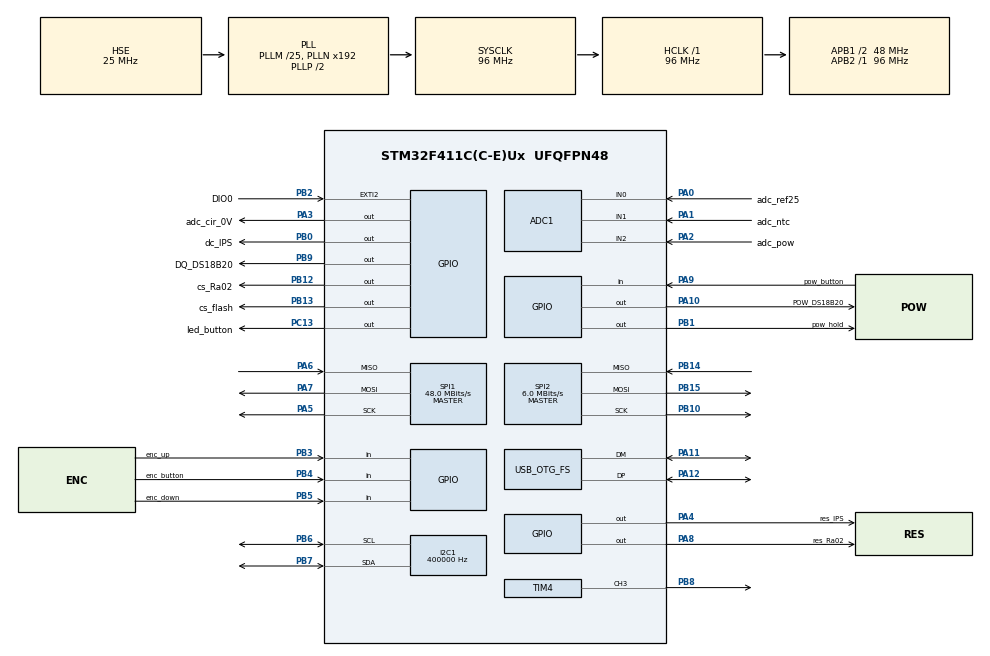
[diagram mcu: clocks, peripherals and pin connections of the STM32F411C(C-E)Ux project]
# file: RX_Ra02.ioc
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ADC1.Channel-0\#ChannelRegularConversion=ADC_CHANNEL_0
ADC1.Channel-3\#ChannelRegularConversion=ADC_CHANNEL_1
ADC1.Channel-4\#ChannelRegularConversion=ADC_CHANNEL_2
ADC1.NbrOfConversion=3
ADC1.NbrOfConversionFlag=1
ADC1.Rank-0\#ChannelRegularConversion=1
ADC1.Rank-3\#ChannelRegularConversion=2
ADC1.Rank-4\#ChannelRegularConversion=3
ADC1.SamplingTime-0\#ChannelRegularConversion=ADC_SAMPLETIME_28CYCLES
ADC1.SamplingTime-3\#ChannelRegularConversion=ADC_SAMPLETIME_28CYCLES
ADC1.SamplingTime-4\#ChannelRegularConversion=ADC_SAMPLETIME_28CYCLES
ADC1.ScanConvMode=ENABLE
ADC1.master=1
Dma.ADC1.0.Direction=DMA_PERIPH_TO_MEMORY
Dma.ADC1.0.FIFOMode=DMA_FIFOMODE_DISABLE
Dma.ADC1.0.Instance=DMA2_Stream0
Dma.ADC1.0.MemDataAlignment=DMA_MDATAALIGN_HALFWORD
Dma.ADC1.0.MemInc=DMA_MINC_ENABLE
Dma.ADC1.0.Mode=DMA_NORMAL
Dma.ADC1.0.PeriphDataAlignment=DMA_PDATAALIGN_HALFWORD
Dma.ADC1.0.PeriphInc=DMA_PINC_DISABLE
Dma.ADC1.0.Priority=DMA_PRIORITY_LOW
Dma.Request0=ADC1
FREERTOS.Tasks01=defaultTask,0,512,StartDefaultTask,Default,NULL,Dynamic,NULL,NULL;myTask_BUTTON,-1,512,StartTask_BUTTON,Default,NULL,Dynamic,NULL,NULL
FREERTOS.configMINIMAL_STACK_SIZE=512
FREERTOS.configUSE_NEWLIB_REENTRANT=1
I2C1.ClockSpeed=400000
I2C1.I2C_Mode=I2C_Fast
I2C1.NoStretchMode=I2C_NOSTRETCH_DISABLE
Mcu.Family=STM32F4
Mcu.Name=STM32F411C(C-E)Ux
Mcu.Package=UFQFPN48
NVIC.DMA2_Stream0_IRQn=true\:5\:0\:false\:false\:true\:true\:false\:true\:true
NVIC.EXTI2_IRQn=true\:6\:0\:true\:false\:true\:true\:true\:true\:true
NVIC.OTG_FS_IRQn=true\:5\:0\:false\:false\:true\:true\:false\:true\:true
NVIC.PriorityGroup=NVIC_PRIORITYGROUP_4
NVIC.TIM2_IRQn=true\:15\:0\:false\:false\:true\:false\:false\:true\:true
NVIC.TimeBase=TIM2_IRQn
NVIC.TimeBaseIP=TIM2
PA0-WKUP.GPIO_Label=adc_ref25
PA0-WKUP.Signal=ADCx_IN0
PA1.GPIO_Label=adc_ntc
PA1.Signal=ADCx_IN1
PA10.GPIO_Label=POW_DS18B20
PA10.Signal=GPIO_Output
PA11.Mode=Device_Only
PA11.Signal=USB_OTG_FS_DM
PA12.Mode=Device_Only
PA12.Signal=USB_OTG_FS_DP
PA2.GPIO_Label=adc_pow
PA2.Signal=ADCx_IN2
PA3.GPIO_Label=adc_cir_0V
PA3.GPIO_ModeDefaultOutputPP=GPIO_MODE_OUTPUT_OD
PA3.GPIO_PuPd=GPIO_NOPULL
PA3.PinState=GPIO_PIN_SET
PA3.Signal=GPIO_Output
PA4.GPIO_Label=res_IPS
PA4.GPIO_Speed=GPIO_SPEED_FREQ_VERY_HIGH
PA4.Signal=GPIO_Output
PA5.Mode=Full_Duplex_Master
PA5.Signal=SPI1_SCK
PA6.Mode=Full_Duplex_Master
PA6.Signal=SPI1_MISO
PA7.Mode=Full_Duplex_Master
PA7.Signal=SPI1_MOSI
PA8.GPIO_Label=res_Ra02
PA8.GPIO_Speed=GPIO_SPEED_FREQ_VERY_HIGH
PA8.PinState=GPIO_PIN_SET
PA8.Signal=GPIO_Output
PA9.GPIO_Label=pow_button
PA9.Signal=GPIO_Input
PB0.GPIO_Label=dc_IPS
PB0.GPIO_Speed=GPIO_SPEED_FREQ_VERY_HIGH
PB0.PinState=GPIO_PIN_SET
PB0.Signal=GPIO_Output
PB1.GPIO_Label=pow_hold
PB1.GPIO_ModeDefaultOutputPP=GPIO_MODE_OUTPUT_OD
PB1.GPIO_PuPd=GPIO_NOPULL
PB1.PinState=GPIO_PIN_SET
PB1.Signal=GPIO_Output
PB10.GPIO_Speed=GPIO_SPEED_FREQ_MEDIUM
PB10.Mode=Full_Duplex_Master
PB10.Signal=SPI2_SCK
PB12.GPIO_Label=cs_Ra02
PB12.GPIO_Speed=GPIO_SPEED_FREQ_HIGH
PB12.PinState=GPIO_PIN_SET
PB12.Signal=GPIO_Output
PB13.GPIO_Label=cs_flash
PB13.GPIO_Speed=GPIO_SPEED_FREQ_HIGH
PB13.PinState=GPIO_PIN_SET
PB13.Signal=GPIO_Output
PB14.Mode=Full_Duplex_Master
PB14.Signal=SPI2_MISO
PB15.GPIO_Speed=GPIO_SPEED_FREQ_MEDIUM
PB15.Mode=Full_Duplex_Master
PB15.Signal=SPI2_MOSI
PB2.GPIO_Label=DIO0
PB2.Signal=GPXTI2
PB3.GPIO_Label=enc_up
PB3.GPIO_PuPd=GPIO_PULLUP
PB3.Signal=GPIO_Input
PB4.GPIO_Label=enc_button
PB4.GPIO_PuPd=GPIO_PULLUP
PB4.Signal=GPIO_Input
PB5.GPIO_Label=enc_down
PB5.GPIO_PuPd=GPIO_PULLUP
PB5.Signal=GPIO_Input
PB6.GPIO_Pu=GPIO_PULLUP
PB6.Mode=I2C
PB6.Signal=I2C1_SCL
PB7.GPIO_Pu=GPIO_PULLUP
PB7.Mode=I2C
PB7.Signal=I2C1_SDA
PB8.Signal=S_TIM4_CH3
PB9.GPIO_Label=DQ_DS18B20
PB9.GPIO_ModeDefaultOutputPP=GPIO_MODE_OUTPUT_OD
PB9.GPIO_PuPd=GPIO_NOPULL
PB9.GPIO_Speed=GPIO_SPEED_FREQ_VERY_HIGH
PB9.PinState=GPIO_PIN_SET
PB9.Signal=GPIO_Output
PC13-ANTI_TAMP.GPIO_Label=led_button
PC13-ANTI_TAMP.PinState=GPIO_PIN_SET
PC13-ANTI_TAMP.Signal=GPIO_Output
PH0\ -\ OSC_IN.Mode=HSE-External-Oscillator
PH0\ -\ OSC_IN.Signal=RCC_OSC_IN
PH1\ -\ OSC_OUT.Mode=HSE-External-Oscillator
PH1\ -\ OSC_OUT.Signal=RCC_OSC_OUT
ProjectManager.HeapSize=0x200
ProjectManager.StackSize=0x400
ProjectManager.TargetToolchain=STM32CubeIDE
RCC.48MHZClocksFreq_Value=48000000
RCC.AHBFreq_Value=96000000
RCC.APB1CLKDivider=RCC_HCLK_DIV2
RCC.APB1Freq_Value=48000000
RCC.APB1TimFreq_Value=96000000
RCC.APB2Freq_Value=96000000
RCC.APB2TimFreq_Value=96000000
RCC.CortexFreq_Value=96000000
RCC.HCLKFreq_Value=96000000
RCC.HSE_VALUE=25000000
RCC.HSI_VALUE=16000000
RCC.LSE_VALUE=32768
RCC.PLLM=25
RCC.SYSCLKFreq_VALUE=96000000
RCC.SYSCLKSource=RCC_SYSCLKSOURCE_PLLCLK
RCC.VCOOutputFreq_Value=192000000
SH.ADCx_IN0.0=ADC1_IN0,IN0
SH.ADCx_IN1.0=ADC1_IN1,IN1
SH.ADCx_IN2.0=ADC1_IN2,IN2
SH.S_TIM4_CH3.0=TIM4_CH3,PWM Generation3 CH3
SPI1.BaudRatePrescaler=SPI_BAUDRATEPRESCALER_2
SPI1.CLKPhase=SPI_PHASE_2EDGE
SPI1.CLKPolarity=SPI_POLARITY_HIGH
SPI1.CalculateBaudRate=48.0 MBits/s
SPI1.Direction=SPI_DIRECTION_2LINES
SPI1.FirstBit=SPI_FIRSTBIT_MSB
SPI1.Mode=SPI_MODE_MASTER
SPI1.VirtualType=VM_MASTER
SPI2.BaudRatePrescaler=SPI_BAUDRATEPRESCALER_8
SPI2.CLKPhase=SPI_PHASE_1EDGE
SPI2.CLKPolarity=SPI_POLARITY_LOW
SPI2.CalculateBaudRate=6.0 MBits/s
SPI2.Direction=SPI_DIRECTION_2LINES
SPI2.FirstBit=SPI_FIRSTBIT_MSB
SPI2.Mode=SPI_MODE_MASTER
SPI2.VirtualType=VM_MASTER
TIM10.ClockDivision=TIM_CLOCKDIVISION_DIV4
TIM10.Prescaler=96
TIM4.Channel-PWM\ Generation3\ CH3=TIM_CHANNEL_3
TIM4.Period=4096
USB_DEVICE.CLASS_NAME_FS=CDC
USB_DEVICE.VirtualMode=Cdc
USB_DEVICE.VirtualModeFS=Cdc_FS
USB_OTG_FS.VirtualMode=Device_Only
VP_FREERTOS_VS_CMSIS_V1.Mode=CMSIS_V1
VP_SYS_VS_tim2.Mode=TIM2
VP_TIM10_VS_ClockSourceINT.Mode=Enable_Timer
VP_USB_DEVICE_VS_USB_DEVICE_CDC_FS.Mode=CDC_FS
board=custom

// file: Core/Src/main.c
/* USER CODE BEGIN Header */
/**
  ******************************************************************************
  * @file           : main.c
  * @brief          : Main program body
  ******************************************************************************
  * @attention
  *
  * Copyright (c) 2025 STMicroelectronics.
  * All rights reserved.
  *
  * This software is licensed under terms that can be found in the LICENSE file
  * in the root directory of this software component.
  * If no LICENSE file comes with this software, it is provided AS-IS.
  *
  ******************************************************************************
  */
/* USER CODE END Header */
#include "main.h"
#include "cmsis_os.h"
#include "usb_device.h"

/* USER CODE BEGIN Includes */
#include "st7789.h"
#include "Flash_W25Q64.h"
#include "Ra_02_LORA.h"
#include "other functions.h"
#include "DS3231.h"
#include "DS18B20.h"
#include "adc.h"
#include "MENU.h"
#include "display.h"
#include "SHT30.h"
#include "Ra_02_LORA.h"
#include "fram.h"
#include "data_encoding.h"
/* USER CODE END Includes */

ADC_HandleTypeDef hadc1;
DMA_HandleTypeDef hdma_adc1;

I2C_HandleTypeDef hi2c1;

SPI_HandleTypeDef hspi1;
SPI_HandleTypeDef hspi2;

TIM_HandleTypeDef htim4;
TIM_HandleTypeDef htim10;

osThreadId defaultTaskHandle;
osThreadId myTask_BUTTONHandle;
/* USER CODE BEGIN PV */
LoRa myLoRa;
uint8_t LoRa_stat=0;
uint8_t LoRa_RxBuffer[7] = {0};
uint8_t TxBuffer[7];
uint8_t LoRa_receive_data = 0;
int			RSSI;
uint8_t dev_LoRa = 0;		//Ra_02_pressence (&myLoRa);
uint16_t background_color = 0;
extern uint8_t MENU;
extern uint8_t MENU_update;
uint8_t RTC_view = 1;
uint32_t RX_fix_time_sec = 0;
extern uint32_t sec_time;

/* USER CODE END PV */

void SystemClock_Config(void);
static void MX_GPIO_Init(void);
static void MX_DMA_Init(void);
static void MX_I2C1_Init(void);
static void MX_SPI1_Init(void);
static void MX_SPI2_Init(void);
static void MX_ADC1_Init(void);
static void MX_TIM4_Init(void);
static void MX_TIM10_Init(void);
void StartDefaultTask(void const * argument);
void StartTask_BUTTON(void const * argument);

int main(void)
{

  /* MCU Configuration--------------------------------------------------------*/

  /* Reset of all peripherals, Initializes the Flash interface and the Systick. */
  HAL_Init();

  /* Configure the system clock */
  SystemClock_Config();

  /* Initialize all configured peripherals */
  MX_GPIO_Init();
  MX_DMA_Init();
  MX_I2C1_Init();
  MX_SPI1_Init();
  MX_SPI2_Init();
  MX_ADC1_Init();
  MX_TIM4_Init();
  MX_TIM10_Init();
  /* USER CODE BEGIN 2 */
  ST7789_Init(240, 240);
  power_on_displayed ();
  convert_adc_3ch ();
  SHT30_heater (0);
  read_fram_count_init ();			// Don't remove
  Power_DS18B20 (1);
  HAL_Delay(5);
  TEST_AND_WRITE_DEFAULT_SRAM ();	// DS18B20
  ST7789_SetBL(40);
  //-------- erase fram - statistic ------------------
  //fram_erase_full ();
  //-----------------------------------------------

  // MODULE SETTINGS ----------------------------------------------
  myLoRa = newLoRa();

	myLoRa.hSPIx        = &hspi2;
	myLoRa.CS_port      = cs_Ra02_GPIO_Port;
	myLoRa.CS_pin       = cs_Ra02_Pin;
	myLoRa.reset_port   = res_Ra02_GPIO_Port;
	myLoRa.reset_pin    = res_Ra02_Pin;
	myLoRa.DIO0_port	= DIO0_GPIO_Port;
	myLoRa.DIO0_pin		= DIO0_Pin;

	myLoRa.frequency             = 470;			// default = 433 MHz
	myLoRa.spredingFactor        = SF_7;		// default = SF_7
	myLoRa.bandWidth			 = BW_31_25KHz;	// default = BW_125KHz
	myLoRa.crcRate				 = CR_4_5;		// default = CR_4_5
	myLoRa.power				 = POWER_20db;	// default = 20db
	myLoRa.overCurrentProtection = 130; 		// default = 100 mA
	myLoRa.preamble				 = 9;		  	// default = 8;

//	if(LoRa_init(&myLoRa)==LORA_OK){
//		LoRa_stat = 1;
//	}
	LoRa_reset(&myLoRa);
	LoRa_init(&myLoRa);

	// START CONTINUOUS RECEIVING -----------------------------------
	LoRa_startReceiving(&myLoRa);

	display_of_device_presence_at_startup ();
  /* USER CODE END 2 */

  /* Create the thread(s) */
  /* definition and creation of defaultTask */
  osThreadDef(defaultTask, StartDefaultTask, osPriorityNormal, 0, 512);
  defaultTaskHandle = osThreadCreate(osThread(defaultTask), NULL);

  /* definition and creation of myTask_BUTTON */
  osThreadDef(myTask_BUTTON, StartTask_BUTTON, osPriorityBelowNormal, 0, 512);
  myTask_BUTTONHandle = osThreadCreate(osThread(myTask_BUTTON), NULL);

  /* Start scheduler */
  osKernelStart();

  /* We should never get here as control is now taken by the scheduler */

  /* Infinite loop */
  while (1)
  {

  }
}

void SystemClock_Config(void)
{
  RCC_OscInitTypeDef RCC_OscInitStruct = {0};
  RCC_ClkInitTypeDef RCC_ClkInitStruct = {0};

  /** Configure the main internal regulator output voltage
  */
  __HAL_RCC_PWR_CLK_ENABLE();
  __HAL_PWR_VOLTAGESCALING_CONFIG(PWR_REGULATOR_VOLTAGE_SCALE1);

  /** Initializes the RCC Oscillators according to the specified parameters
  * in the RCC_OscInitTypeDef structure.
  */
  RCC_OscInitStruct.OscillatorType = RCC_OSCILLATORTYPE_HSE;
  RCC_OscInitStruct.HSEState = RCC_HSE_ON;
  RCC_OscInitStruct.PLL.PLLState = RCC_PLL_ON;
  RCC_OscInitStruct.PLL.PLLSource = RCC_PLLSOURCE_HSE;
  RCC_OscInitStruct.PLL.PLLM = 25;
  RCC_OscInitStruct.PLL.PLLN = 192;
  RCC_OscInitStruct.PLL.PLLP = RCC_PLLP_DIV2;
  RCC_OscInitStruct.PLL.PLLQ = 4;
  if (HAL_RCC_OscConfig(&RCC_OscInitStruct) != HAL_OK)
  {
    Error_Handler();
  }

  /** Initializes the CPU, AHB and APB buses clocks
  */
  RCC_ClkInitStruct.ClockType = RCC_CLOCKTYPE_HCLK|RCC_CLOCKTYPE_SYSCLK
                              |RCC_CLOCKTYPE_PCLK1|RCC_CLOCKTYPE_PCLK2;
  RCC_ClkInitStruct.SYSCLKSource = RCC_SYSCLKSOURCE_PLLCLK;
  RCC_ClkInitStruct.AHBCLKDivider = RCC_SYSCLK_DIV1;
  RCC_ClkInitStruct.APB1CLKDivider = RCC_HCLK_DIV2;
  RCC_ClkInitStruct.APB2CLKDivider = RCC_HCLK_DIV1;

  if (HAL_RCC_ClockConfig(&RCC_ClkInitStruct, FLASH_LATENCY_3) != HAL_OK)
  {
    Error_Handler();
  }
}

static void MX_ADC1_Init(void)
{

  ADC_ChannelConfTypeDef sConfig = {0};

  /** Configure the global features of the ADC (Clock, Resolution, Data Alignment and number of conversion)
  */
  hadc1.Instance = ADC1;
  hadc1.Init.ClockPrescaler = ADC_CLOCK_SYNC_PCLK_DIV4;
  hadc1.Init.Resolution = ADC_RESOLUTION_12B;
  hadc1.Init.ScanConvMode = ENABLE;
  hadc1.Init.ContinuousConvMode = DISABLE;
  hadc1.Init.DiscontinuousConvMode = DISABLE;
  hadc1.Init.ExternalTrigConvEdge = ADC_EXTERNALTRIGCONVEDGE_NONE;
  hadc1.Init.ExternalTrigConv = ADC_SOFTWARE_START;
  hadc1.Init.DataAlign = ADC_DATAALIGN_RIGHT;
  hadc1.Init.NbrOfConversion = 3;
  hadc1.Init.DMAContinuousRequests = DISABLE;
  hadc1.Init.EOCSelection = ADC_EOC_SINGLE_CONV;
  if (HAL_ADC_Init(&hadc1) != HAL_OK)
  {
    Error_Handler();
  }

  /** Configure for the selected ADC regular channel its corresponding rank in the sequencer and its sample time.
  */
  sConfig.Channel = ADC_CHANNEL_0;
  sConfig.Rank = 1;
  sConfig.SamplingTime = ADC_SAMPLETIME_28CYCLES;
  if (HAL_ADC_ConfigChannel(&hadc1, &sConfig) != HAL_OK)
  {
    Error_Handler();
  }

  /** Configure for the selected ADC regular channel its corresponding rank in the sequencer and its sample time.
  */
  sConfig.Channel = ADC_CHANNEL_1;
  sConfig.Rank = 2;
  if (HAL_ADC_ConfigChannel(&hadc1, &sConfig) != HAL_OK)
  {
    Error_Handler();
  }

  /** Configure for the selected ADC regular channel its corresponding rank in the sequencer and its sample time.
  */
  sConfig.Channel = ADC_CHANNEL_2;
  sConfig.Rank = 3;
  if (HAL_ADC_ConfigChannel(&hadc1, &sConfig) != HAL_OK)
  {
    Error_Handler();
  }

}

static void MX_I2C1_Init(void)
{

  /* USER CODE BEGIN I2C1_Init 0 */
	__HAL_RCC_I2C1_CLK_ENABLE();

  /* USER CODE END I2C1_Init 0 */

  hi2c1.Instance = I2C1;
  hi2c1.Init.ClockSpeed = 400000;
  hi2c1.Init.DutyCycle = I2C_DUTYCYCLE_2;
  hi2c1.Init.OwnAddress1 = 0;
  hi2c1.Init.AddressingMode = I2C_ADDRESSINGMODE_7BIT;
  hi2c1.Init.DualAddressMode = I2C_DUALADDRESS_DISABLE;
  hi2c1.Init.OwnAddress2 = 0;
  hi2c1.Init.GeneralCallMode = I2C_GENERALCALL_DISABLE;
  hi2c1.Init.NoStretchMode = I2C_NOSTRETCH_DISABLE;
  if (HAL_I2C_Init(&hi2c1) != HAL_OK)
  {
    Error_Handler();
  }

}

static void MX_SPI1_Init(void)
{

  /* SPI1 parameter configuration*/
  hspi1.Instance = SPI1;
  hspi1.Init.Mode = SPI_MODE_MASTER;
  hspi1.Init.Direction = SPI_DIRECTION_2LINES;
  hspi1.Init.DataSize = SPI_DATASIZE_8BIT;
  hspi1.Init.CLKPolarity = SPI_POLARITY_HIGH;
  hspi1.Init.CLKPhase = SPI_PHASE_2EDGE;
  hspi1.Init.NSS = SPI_NSS_SOFT;
  hspi1.Init.BaudRatePrescaler = SPI_BAUDRATEPRESCALER_2;
  hspi1.Init.FirstBit = SPI_FIRSTBIT_MSB;
  hspi1.Init.TIMode = SPI_TIMODE_DISABLE;
  hspi1.Init.CRCCalculation = SPI_CRCCALCULATION_DISABLE;
  hspi1.Init.CRCPolynomial = 10;
  if (HAL_SPI_Init(&hspi1) != HAL_OK)
  {
    Error_Handler();
  }

}

static void MX_SPI2_Init(void)
{

  /* SPI2 parameter configuration*/
  hspi2.Instance = SPI2;
  hspi2.Init.Mode = SPI_MODE_MASTER;
  hspi2.Init.Direction = SPI_DIRECTION_2LINES;
  hspi2.Init.DataSize = SPI_DATASIZE_8BIT;
  hspi2.Init.CLKPolarity = SPI_POLARITY_LOW;
  hspi2.Init.CLKPhase = SPI_PHASE_1EDGE;
  hspi2.Init.NSS = SPI_NSS_SOFT;
  hspi2.Init.BaudRatePrescaler = SPI_BAUDRATEPRESCALER_8;
  hspi2.Init.FirstBit = SPI_FIRSTBIT_MSB;
  hspi2.Init.TIMode = SPI_TIMODE_DISABLE;
  hspi2.Init.CRCCalculation = SPI_CRCCALCULATION_DISABLE;
  hspi2.Init.CRCPolynomial = 10;
  if (HAL_SPI_Init(&hspi2) != HAL_OK)
  {
    Error_Handler();
  }

}

static void MX_TIM4_Init(void)
{

  TIM_MasterConfigTypeDef sMasterConfig = {0};
  TIM_OC_InitTypeDef sConfigOC = {0};

  htim4.Instance = TIM4;
  htim4.Init.Prescaler = 0;
  htim4.Init.CounterMode = TIM_COUNTERMODE_UP;
  htim4.Init.Period = 4096;
  htim4.Init.ClockDivision = TIM_CLOCKDIVISION_DIV1;
  htim4.Init.AutoReloadPreload = TIM_AUTORELOAD_PRELOAD_DISABLE;
  if (HAL_TIM_PWM_Init(&htim4) != HAL_OK)
  {
    Error_Handler();
  }
  sMasterConfig.MasterOutputTrigger = TIM_TRGO_RESET;
  sMasterConfig.MasterSlaveMode = TIM_MASTERSLAVEMODE_DISABLE;
  if (HAL_TIMEx_MasterConfigSynchronization(&htim4, &sMasterConfig) != HAL_OK)
  {
    Error_Handler();
  }
  sConfigOC.OCMode = TIM_OCMODE_PWM1;
  sConfigOC.Pulse = 0;
  sConfigOC.OCPolarity = TIM_OCPOLARITY_HIGH;
  sConfigOC.OCFastMode = TIM_OCFAST_DISABLE;
  if (HAL_TIM_PWM_ConfigChannel(&htim4, &sConfigOC, TIM_CHANNEL_3) != HAL_OK)
  {
    Error_Handler();
  }
  /* USER CODE BEGIN TIM4_Init 2 */
  HAL_TIM_Base_Start(&htim4);
  HAL_TIM_PWM_Start(&htim4, TIM_CHANNEL_3);
  /* USER CODE END TIM4_Init 2 */
  HAL_TIM_MspPostInit(&htim4);

}

static void MX_TIM10_Init(void)
{

  htim10.Instance = TIM10;
  htim10.Init.Prescaler = 96;
  htim10.Init.CounterMode = TIM_COUNTERMODE_UP;
  htim10.Init.Period = 65535;
  htim10.Init.ClockDivision = TIM_CLOCKDIVISION_DIV4;
  htim10.Init.AutoReloadPreload = TIM_AUTORELOAD_PRELOAD_DISABLE;
  if (HAL_TIM_Base_Init(&htim10) != HAL_OK)
  {
    Error_Handler();
  }
  /* USER CODE BEGIN TIM10_Init 2 */
  HAL_TIM_Base_Start(&htim10);
  /* USER CODE END TIM10_Init 2 */

}

static void MX_DMA_Init(void)
{

  /* DMA controller clock enable */
  __HAL_RCC_DMA2_CLK_ENABLE();

  /* DMA interrupt init */
  /* DMA2_Stream0_IRQn interrupt configuration */
  HAL_NVIC_SetPriority(DMA2_Stream0_IRQn, 5, 0);
  HAL_NVIC_EnableIRQ(DMA2_Stream0_IRQn);

}

static void MX_GPIO_Init(void)
{
  GPIO_InitTypeDef GPIO_InitStruct = {0};

  /* GPIO Ports Clock Enable */
  __HAL_RCC_GPIOC_CLK_ENABLE();
  __HAL_RCC_GPIOH_CLK_ENABLE();
  __HAL_RCC_GPIOA_CLK_ENABLE();
  __HAL_RCC_GPIOB_CLK_ENABLE();

  /*Configure GPIO pin Output Level */
  HAL_GPIO_WritePin(led_button_GPIO_Port, led_button_Pin, GPIO_PIN_SET);

  /*Configure GPIO pin Output Level */
  HAL_GPIO_WritePin(GPIOA, adc_cir_0V_Pin|res_Ra02_Pin, GPIO_PIN_SET);

  /*Configure GPIO pin Output Level */
  HAL_GPIO_WritePin(GPIOA, res_IPS_Pin|POW_DS18B20_Pin, GPIO_PIN_RESET);

  /*Configure GPIO pin Output Level */
  HAL_GPIO_WritePin(GPIOB, dc_IPS_Pin|pow_hold_Pin|cs_Ra02_Pin|cs_flash_Pin
                          |DQ_DS18B20_Pin, GPIO_PIN_SET);

  /*Configure GPIO pin : led_button_Pin */
  GPIO_InitStruct.Pin = led_button_Pin;
  GPIO_InitStruct.Mode = GPIO_MODE_OUTPUT_PP;
  GPIO_InitStruct.Pull = GPIO_NOPULL;
  GPIO_InitStruct.Speed = GPIO_SPEED_FREQ_LOW;
  HAL_GPIO_Init(led_button_GPIO_Port, &GPIO_InitStruct);

  /*Configure GPIO pin : adc_cir_0V_Pin */
  GPIO_InitStruct.Pin = adc_cir_0V_Pin;
  GPIO_InitStruct.Mode = GPIO_MODE_OUTPUT_OD;
  GPIO_InitStruct.Pull = GPIO_NOPULL;
  GPIO_InitStruct.Speed = GPIO_SPEED_FREQ_LOW;
  HAL_GPIO_Init(adc_cir_0V_GPIO_Port, &GPIO_InitStruct);

  /*Configure GPIO pins : res_IPS_Pin res_Ra02_Pin */
  GPIO_InitStruct.Pin = res_IPS_Pin|res_Ra02_Pin;
  GPIO_InitStruct.Mode = GPIO_MODE_OUTPUT_PP;
  GPIO_InitStruct.Pull = GPIO_NOPULL;
  GPIO_InitStruct.Speed = GPIO_SPEED_FREQ_VERY_HIGH;
  HAL_GPIO_Init(GPIOA, &GPIO_InitStruct);

  /*Configure GPIO pin : dc_IPS_Pin */
  GPIO_InitStruct.Pin = dc_IPS_Pin;
  GPIO_InitStruct.Mode = GPIO_MODE_OUTPUT_PP;
  GPIO_InitStruct.Pull = GPIO_NOPULL;
  GPIO_InitStruct.Speed = GPIO_SPEED_FREQ_VERY_HIGH;
  HAL_GPIO_Init(dc_IPS_GPIO_Port, &GPIO_InitStruct);

  /*Configure GPIO pin : pow_hold_Pin */
  GPIO_InitStruct.Pin = pow_hold_Pin;
  GPIO_InitStruct.Mode = GPIO_MODE_OUTPUT_OD;
  GPIO_InitStruct.Pull = GPIO_NOPULL;
  GPIO_InitStruct.Speed = GPIO_SPEED_FREQ_LOW;
  HAL_GPIO_Init(pow_hold_GPIO_Port, &GPIO_InitStruct);

  /*Configure GPIO pin : DIO0_Pin */
  GPIO_InitStruct.Pin = DIO0_Pin;
  GPIO_InitStruct.Mode = GPIO_MODE_IT_RISING;
  GPIO_InitStruct.Pull = GPIO_NOPULL;
  HAL_GPIO_Init(DIO0_GPIO_Port, &GPIO_InitStruct);

  /*Configure GPIO pins : cs_Ra02_Pin cs_flash_Pin */
  GPIO_InitStruct.Pin = cs_Ra02_Pin|cs_flash_Pin;
  GPIO_InitStruct.Mode = GPIO_MODE_OUTPUT_PP;
  GPIO_InitStruct.Pull = GPIO_NOPULL;
  GPIO_InitStruct.Speed = GPIO_SPEED_FREQ_HIGH;
  HAL_GPIO_Init(GPIOB, &GPIO_InitStruct);

  /*Configure GPIO pin : pow_button_Pin */
  GPIO_InitStruct.Pin = pow_button_Pin;
  GPIO_InitStruct.Mode = GPIO_MODE_INPUT;
  GPIO_InitStruct.Pull = GPIO_NOPULL;
  HAL_GPIO_Init(pow_button_GPIO_Port, &GPIO_InitStruct);

  /*Configure GPIO pin : POW_DS18B20_Pin */
  GPIO_InitStruct.Pin = POW_DS18B20_Pin;
  GPIO_InitStruct.Mode = GPIO_MODE_OUTPUT_PP;
  GPIO_InitStruct.Pull = GPIO_NOPULL;
  GPIO_InitStruct.Speed = GPIO_SPEED_FREQ_LOW;
  HAL_GPIO_Init(POW_DS18B20_GPIO_Port, &GPIO_InitStruct);

  /*Configure GPIO pins : enc_up_Pin enc_button_Pin enc_down_Pin */
  GPIO_InitStruct.Pin = enc_up_Pin|enc_button_Pin|enc_down_Pin;
  GPIO_InitStruct.Mode = GPIO_MODE_INPUT;
  GPIO_InitStruct.Pull = GPIO_PULLUP;
  HAL_GPIO_Init(GPIOB, &GPIO_InitStruct);

  /*Configure GPIO pin : DQ_DS18B20_Pin */
  GPIO_InitStruct.Pin = DQ_DS18B20_Pin;
  GPIO_InitStruct.Mode = GPIO_MODE_OUTPUT_OD;
  GPIO_InitStruct.Pull = GPIO_NOPULL;
  GPIO_InitStruct.Speed = GPIO_SPEED_FREQ_VERY_HIGH;
  HAL_GPIO_Init(DQ_DS18B20_GPIO_Port, &GPIO_InitStruct);

  /* EXTI interrupt init*/
  HAL_NVIC_SetPriority(EXTI2_IRQn, 6, 0);
  HAL_NVIC_EnableIRQ(EXTI2_IRQn);

}

/* USER CODE BEGIN 4 */

//Receiver Side
void HAL_GPIO_EXTI_Callback(uint16_t GPIO_Pin){
	if(GPIO_Pin == myLoRa.DIO0_pin){
		HAL_GPIO_WritePin(led_button_GPIO_Port, led_button_Pin, GPIO_PIN_SET);   // led button on
		LoRa_receive(&myLoRa, LoRa_RxBuffer, 7);

		uint8_t CRC_check = fast_CRC_check (LoRa_RxBuffer);

		if(CRC_check == 1){
			write_fram_received_byte_counter ();
			RX_fix_time_sec = sec_time;
			LoRa_receive_data = 1;
		}

		if (MENU == 0){
			MENU_update = 1;
		}
	}
}

/* USER CODE END 4 */

void StartDefaultTask(void const * argument)
{
  /* init code for USB_DEVICE */
  MX_USB_DEVICE_Init();
  /* USER CODE BEGIN 5 */
  /* Infinite loop */
  for(;;)
  {
	osDelay(938);				// 955
	displayed_data_time_DS3231 (background_color, RTC_view);
	HAL_GPIO_WritePin(led_button_GPIO_Port, led_button_Pin, GPIO_PIN_RESET);  // led button off
  }
  /* USER CODE END 5 */
}

void StartTask_BUTTON(void const * argument)
{
  /* USER CODE BEGIN StartTask_BUTTON */
  /* Infinite loop */
  for(;;)
  {
    osDelay(100);
    buttons ();
    MENU_SELEKTOR ();
    shutdown_displayed ();
}
  /* USER CODE END StartTask_BUTTON */
}

void HAL_TIM_PeriodElapsedCallback(TIM_HandleTypeDef *htim)
{
  if (htim->Instance == TIM2)
  {
    HAL_IncTick();
  }
}

void Error_Handler(void)
{
  __disable_irq();
  while (1)
  {
  }
}
